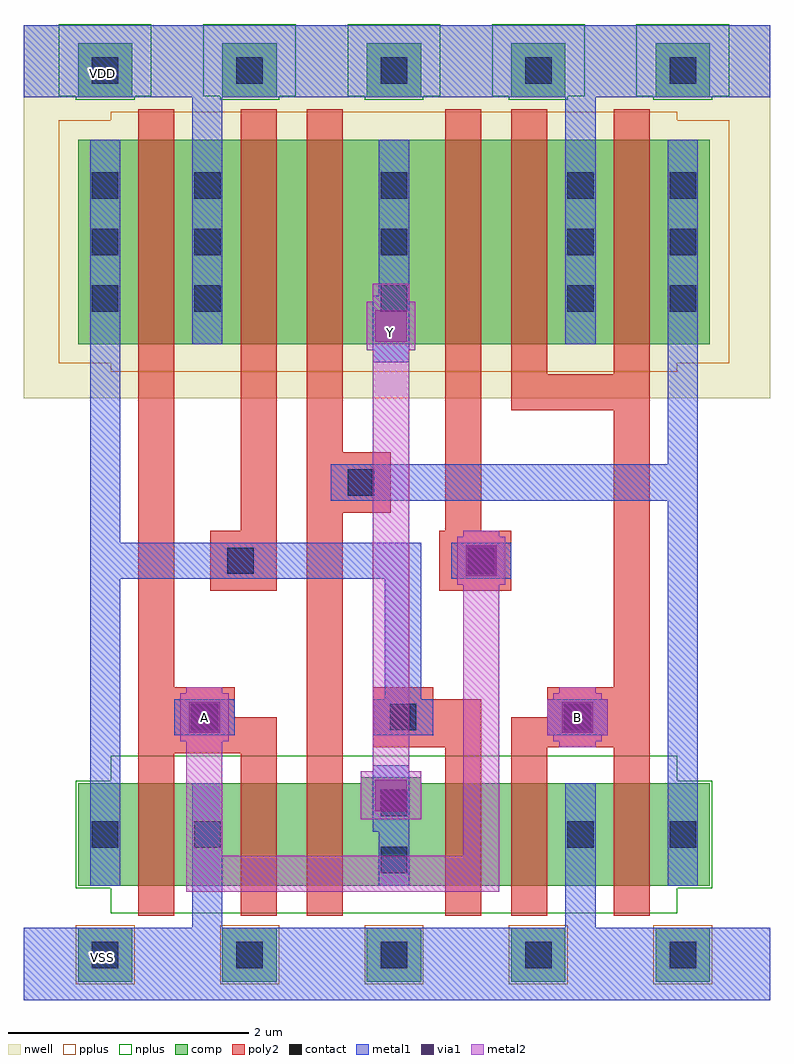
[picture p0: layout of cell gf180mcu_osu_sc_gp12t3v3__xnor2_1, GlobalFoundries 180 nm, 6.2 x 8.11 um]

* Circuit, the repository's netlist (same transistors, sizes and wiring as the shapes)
* Copyright 2022 Google LLC
*
* Licensed under the Apache License, Version 2.0 (the "License");
* you may not use this file except in compliance with the License.
* You may obtain a copy of the License at
*
*      http://www.apache.org/licenses/LICENSE-2.0
*
* Unless required by applicable law or agreed to in writing, software
* distributed under the License is distributed on an "AS IS" BASIS,
* WITHOUT WARRANTIES OR CONDITIONS OF ANY KIND, either express or implied.
* See the License for the specific language governing permissions and
* limitations under the License.

.inc "/import/yukari1/lrburle/OSU_180/char/techfiles/design.hspice"
.lib "/import/yukari1/lrburle/OSU_180/char/techfiles/sm141064.hspice" typical

.GLOBAL VDD
.GLOBAL VSS

.option scale=0.05u

.subckt gf180mcu_osu_sc_gp12t3v3__xnor2_1 A Y B
X0 Y a_47_14 a_42_19 VSS nmos_3p3 w=17 l=6
X1 VDD B a_76_109 VDD pmos_3p3 w=34 l=6
X2 a_47_14 B VDD VDD pmos_3p3 w=34 l=6
X3 Y a_47_14 a_42_109 VDD pmos_3p3 w=34 l=6
X4 a_76_109 A Y VDD pmos_3p3 w=34 l=6
X5 a_42_109 a_9_19 VDD VDD pmos_3p3 w=34 l=6
X6 VDD A a_9_19 VDD pmos_3p3 w=34 l=6
X7 VSS A a_9_19 VSS nmos_3p3 w=17 l=6
X8 a_76_19 a_9_19 Y VSS nmos_3p3 w=17 l=6
X9 a_42_19 A VSS VSS nmos_3p3 w=17 l=6
X10 a_47_14 B VSS VSS nmos_3p3 w=17 l=6
X11 VSS B a_76_19 VSS nmos_3p3 w=17 l=6
.ends

** hspice subcircuit dictionary

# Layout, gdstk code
import gdstk
lib = gdstk.Library(unit=1e-6, precision=1e-09)
def R(c, l, rs):  # rectangles x0, y0, x1, y1
    for r in rs: c.add(gdstk.rectangle(r[:2], r[2:], *l))
def A(c, l, x, y, w, h, nx, ny, dx, dy):  # array of equal rectangles
    R(c, l, [(x+i*dx, y+j*dy, x+i*dx+w, y+j*dy+h) for i in range(nx) for j in range(ny)])
nwell = (21, 0)
comp = (22, 0)
poly2 = (30, 0)
pplus = (31, 0)
nplus = (32, 0)
contact = (33, 0)
metal1 = (34, 0)
via1 = (35, 0)
metal2 = (36, 0)

gf180mcu_osu_sc_gp12t3v3 = lib.new_cell('gf180mcu_osu_sc_gp12t3v3__xnor2_1')
R(gf180mcu_osu_sc_gp12t3v3, nwell, [(0,5,6.2,8.1)])
A(gf180mcu_osu_sc_gp12t3v3, comp, 0.45, 0.15, 0.45, 0.45, 5, 2, 1.2, 7.35)
R(gf180mcu_osu_sc_gp12t3v3, comp, [(0.45,0.95,5.7,1.8), (2.8,1.8,3.3,1.85), (0.45,5.45,5.7,7.15)])
R(gf180mcu_osu_sc_gp12t3v3, poly2, [(0.95,0.7,1.25,2.05), (1.8,0.7,2.1,2.05), (2.35,0.7,2.65,4.05), (3.5,0.7,3.8,2.1), (4.05,0.7,4.35,2.1), (4.9,0.7,5.2,2.1), (0.95,2.05,2.1,2.35), (2.9,2.1,3.8,2.5), (4.05,2.1,5.2,2.35), (0.95,2.35,1.75,2.6), (4.35,2.35,5.2,2.6), (2.9,2.5,3.4,2.6), (0.95,2.6,1.25,7.4), (4.9,2.6,5.2,4.9), (1.55,3.4,2.1,3.9), (3.45,3.4,4.05,3.9), (1.8,3.9,2.1,7.4), (3.5,3.9,3.8,7.4), (2.35,4.05,3.05,4.55), (2.35,4.55,2.65,7.4), (4.05,4.9,5.2,5.2), (4.05,5.2,4.35,7.4), (4.9,5.2,5.2,7.4)])
A(gf180mcu_osu_sc_gp12t3v3, pplus, 0.43, 0.13, 0.49, 0.49, 5, 1, 1.2, 0)
R(gf180mcu_osu_sc_gp12t3v3, pplus, [(0.72,5.22,5.43,5.29), (0.29,5.29,5.86,7.31), (0.72,7.31,5.43,7.38)])
A(gf180mcu_osu_sc_gp12t3v3, nplus, 0.43, 7.48, 0.49, 0.03, 5, 1, 1.2, 0)
A(gf180mcu_osu_sc_gp12t3v3, nplus, 0.29, 7.51, 0.77, 0.6, 5, 1, 1.2, 0)
R(gf180mcu_osu_sc_gp12t3v3, nplus, [(0.72,0.72,5.43,0.93), (0.43,0.93,5.72,1.82), (0.72,1.82,5.43,2.03)])
A(gf180mcu_osu_sc_gp12t3v3, contact, 0.565, 0.265, 0.22, 0.22, 5, 2, 1.2, 7.35)
A(gf180mcu_osu_sc_gp12t3v3, contact, 0.565, 5.72, 0.22, 0.22, 1, 3, 0, 0.47)
A(gf180mcu_osu_sc_gp12t3v3, contact, 1.415, 5.72, 0.22, 0.22, 3, 3, 1.55, 0.47)
A(gf180mcu_osu_sc_gp12t3v3, contact, 5.365, 5.72, 0.22, 0.22, 1, 3, 0, 0.47)
R(gf180mcu_osu_sc_gp12t3v3, contact, [(2.965,1.055,3.185,1.275), (0.565,1.265,0.785,1.485), (1.415,1.265,1.635,1.485), (4.515,1.265,4.735,1.485), (5.365,1.265,5.585,1.485), (2.965,1.525,3.185,1.745), (1.39,2.24,1.61,2.46), (3.04,2.24,3.26,2.46), (4.49,2.24,4.71,2.46), (1.69,3.54,1.91,3.76), (3.69,3.54,3.91,3.76), (2.69,4.19,2.91,4.41)])
R(gf180mcu_osu_sc_gp12t3v3, metal1, [(0,0,6.2,0.6), (1.4,0.6,1.65,1.8), (4.5,0.6,4.75,1.8), (0.55,0.95,0.8,3.5), (2.95,0.95,3.2,1.4), (5.35,0.95,5.6,4.15), (2.9,1.4,3.2,1.95), (1.25,2.2,1.75,2.5), (2.9,2.2,3.4,2.5), (4.35,2.2,4.85,2.5), (3,2.5,3.3,3.5), (0.55,3.5,3.3,3.8), (3.55,3.5,4.05,3.8), (0.55,3.8,0.8,7.15), (2.55,4.15,5.6,4.45), (5.35,4.45,5.6,7.15), (2.9,5.3,3.2,5.85), (1.4,5.45,1.65,7.5), (4.5,5.45,4.75,7.5), (2.95,5.85,3.2,7.15), (0,7.5,6.2,8.1)])
R(gf180mcu_osu_sc_gp12t3v3, via1, [(2.92,1.57,3.18,1.83), (1.37,2.22,1.63,2.48), (4.47,2.22,4.73,2.48), (3.67,3.52,3.93,3.78), (2.92,5.47,3.18,5.73)])
R(gf180mcu_osu_sc_gp12t3v3, metal2, [(1.35,0.9,3.95,1.2), (1.35,1.2,1.65,2.15), (3.65,1.2,3.95,3.45), (2.8,1.5,3.3,1.9), (2.9,1.9,3.2,5.4), (4.45,2.1,4.75,2.15), (1.3,2.15,1.7,2.55), (4.4,2.15,4.8,2.2), (4.35,2.2,4.85,2.5), (4.4,2.5,4.8,2.55), (1.35,2.55,1.65,2.6), (4.45,2.55,4.75,2.6), (3.6,3.45,4,3.85), (3.65,3.85,3.95,3.9), (2.85,5.4,3.25,5.8), (2.9,5.8,3.2,5.95)])
gf180mcu_osu_sc_gp12t3v3.add(gdstk.Label('VDD', (0.65,7.7), layer=34, texttype=0))
gf180mcu_osu_sc_gp12t3v3.add(gdstk.Label('VSS', (0.65,0.35), layer=34, texttype=0))
gf180mcu_osu_sc_gp12t3v3.add(gdstk.Label('A', (1.5,2.35), layer=36, texttype=10))
gf180mcu_osu_sc_gp12t3v3.add(gdstk.Label('Y', (3.05,5.55), layer=36, texttype=10))
gf180mcu_osu_sc_gp12t3v3.add(gdstk.Label('B', (4.6,2.35), layer=36, texttype=10))

lib.write_gds('gf180mcu_osu_sc_gp12t3v3__xnor2_1.gds')
